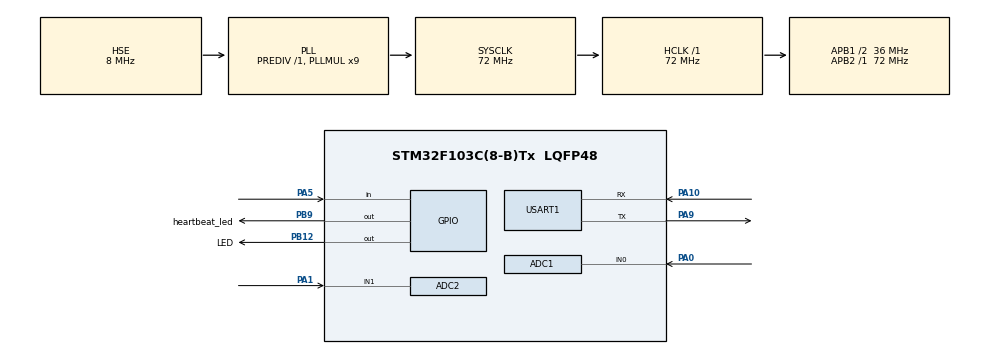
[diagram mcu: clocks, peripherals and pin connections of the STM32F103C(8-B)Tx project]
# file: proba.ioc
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ADC1.Channel-0\#ChannelRegularConversion=ADC_CHANNEL_0
ADC1.NbrOfConversionFlag=1
ADC1.Rank-0\#ChannelRegularConversion=1
ADC1.SamplingTime-0\#ChannelRegularConversion=ADC_SAMPLETIME_1CYCLE_5
ADC1.master=1
ADC2.Channel-2\#ChannelRegularConversion=ADC_CHANNEL_1
ADC2.NbrOfConversionFlag=1
ADC2.Rank-2\#ChannelRegularConversion=1
ADC2.SamplingTime-2\#ChannelRegularConversion=ADC_SAMPLETIME_1CYCLE_5
FREERTOS.Tasks01=defaultTask,24,128,StartDefaultTask,Default,NULL,Dynamic,NULL,NULL;mainTask,8,128,StartMainTask,Default,NULL,Dynamic,NULL,NULL;checkTask,8,128,StartCheckTask,Default,NULL,Dynamic,NULL,NULL;monitorTask,8,128,StartMonitorTask,Default,NULL,Dynamic,NULL,NULL
IWDG.Prescaler=IWDG_PRESCALER_16
IWDG.Reload=1250
Mcu.Family=STM32F1
Mcu.Name=STM32F103C(8-B)Tx
Mcu.Package=LQFP48
NVIC.ADC1_2_IRQn=true\:5\:0\:false\:false\:true\:true\:true\:true
NVIC.PriorityGroup=NVIC_PRIORITYGROUP_4
NVIC.TIM1_UP_IRQn=true\:15\:0\:false\:false\:true\:false\:false\:true
NVIC.TimeBase=TIM1_UP_IRQn
NVIC.TimeBaseIP=TIM1
NVIC.USART1_IRQn=true\:5\:0\:false\:false\:true\:true\:true\:true
PA0-WKUP.Signal=ADCx_IN0
PA1.Signal=ADCx_IN1
PA10.Mode=Asynchronous
PA10.Signal=USART1_RX
PA13.Mode=Serial_Wire
PA13.Signal=SYS_JTMS-SWDIO
PA14.Mode=Serial_Wire
PA14.Signal=SYS_JTCK-SWCLK
PA5.Signal=GPIO_Input
PA9.Mode=Asynchronous
PA9.Signal=USART1_TX
PB12.GPIO_Label=LED
PB12.Signal=GPIO_Output
PB9.GPIO_Label=heartbeat_led
PB9.Signal=GPIO_Output
PC14-OSC32_IN.Mode=LSE-External-Oscillator
PC14-OSC32_IN.Signal=RCC_OSC32_IN
PC15-OSC32_OUT.Mode=LSE-External-Oscillator
PC15-OSC32_OUT.Signal=RCC_OSC32_OUT
PD0-OSC_IN.Mode=HSE-External-Oscillator
PD0-OSC_IN.Signal=RCC_OSC_IN
PD1-OSC_OUT.Mode=HSE-External-Oscillator
PD1-OSC_OUT.Signal=RCC_OSC_OUT
ProjectManager.HeapSize=0x200
ProjectManager.StackSize=0x400
ProjectManager.TargetToolchain=MDK-ARM V5.32
RCC.ADCPresc=RCC_ADCPCLK2_DIV6
RCC.AHBFreq_Value=72000000
RCC.APB1CLKDivider=RCC_HCLK_DIV2
RCC.APB1Freq_Value=36000000
RCC.APB1TimFreq_Value=72000000
RCC.APB2Freq_Value=72000000
RCC.APB2TimFreq_Value=72000000
RCC.HCLKFreq_Value=72000000
RCC.PLLMUL=RCC_PLL_MUL9
RCC.PLLSourceVirtual=RCC_PLLSOURCE_HSE
RCC.SYSCLKFreq_VALUE=72000000
RCC.SYSCLKSource=RCC_SYSCLKSOURCE_PLLCLK
RCC.USBFreq_Value=72000000
SH.ADCx_IN0.0=ADC1_IN0,IN0
SH.ADCx_IN1.0=ADC2_IN1,IN1
USART1.VirtualMode=VM_ASYNC
VP_FREERTOS_VS_CMSIS_V2.Mode=CMSIS_V2
VP_IWDG_VS_IWDG.Mode=IWDG_Activate
VP_SYS_VS_tim1.Mode=TIM1
board=custom

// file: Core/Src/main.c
/* USER CODE BEGIN Header */
/**
  ******************************************************************************
  * @file           : main.c
  * @brief          : Main program body
  ******************************************************************************
  * Программное обеспечение для контроллера импульсного источника питания
  * Autor: Malyshev S.E.
  * Date:  2019
  ******************************************************************************
  */
/* USER CODE END Header */
#include "main.h"
#include "cmsis_os.h"

/* USER CODE BEGIN Includes */
#include <stdio.h>
#include <string.h>
#include <stdbool.h>
#include "task.h"
#include "hardware.h"
#include "mainTask.h"
#include "monitorTask.h"
#include "checkTask.h"
#include "ADC.h"
/* USER CODE END Includes */

ADC_HandleTypeDef hadc1;
ADC_HandleTypeDef hadc2;

IWDG_HandleTypeDef hiwdg;

UART_HandleTypeDef huart1;

/* Definitions for defaultTask */
osThreadId_t defaultTaskHandle;
const osThreadAttr_t defaultTask_attributes = {
  .name = "defaultTask",
  .stack_size = 128 * 4,
  .priority = (osPriority_t) osPriorityNormal,
};
/* Definitions for mainTask */
osThreadId_t mainTaskHandle;
const osThreadAttr_t mainTask_attributes = {
  .name = "mainTask",
  .stack_size = 128 * 4,
  .priority = (osPriority_t) osPriorityLow,
};
/* Definitions for checkTask */
osThreadId_t checkTaskHandle;
const osThreadAttr_t checkTask_attributes = {
  .name = "checkTask",
  .stack_size = 128 * 4,
  .priority = (osPriority_t) osPriorityLow,
};
/* Definitions for monitorTask */
osThreadId_t monitorTaskHandle;
const osThreadAttr_t monitorTask_attributes = {
  .name = "monitorTask",
  .stack_size = 128 * 4,
  .priority = (osPriority_t) osPriorityLow,
};

void SystemClock_Config(void);
static void MX_GPIO_Init(void);
static void MX_USART1_UART_Init(void);
static void MX_ADC1_Init(void);
static void MX_ADC2_Init(void);
static void MX_IWDG_Init(void);
void StartDefaultTask(void *argument);
void StartMainTask(void *argument);
void StartCheckTask(void *argument);
void StartMonitorTask(void *argument);

int main(void)
{

  /* MCU Configuration--------------------------------------------------------*/

  /* Reset of all peripherals, Initializes the Flash interface and the Systick. */
  HAL_Init();

  /* Configure the system clock */
  SystemClock_Config();

  /* Initialize all configured peripherals */
  MX_GPIO_Init();
  MX_USART1_UART_Init();
  MX_ADC1_Init();
  MX_ADC2_Init();
  MX_IWDG_Init();
  /* USER CODE BEGIN 2 */
  HAL_ADCEx_Calibration_Start(&hadc1);

  off_ps();

  clear_uart_buff();
  UART_receve_IT();
  sendUART_hello();
  HAL_NVIC_EnableIRQ(EXTI15_10_IRQn);

  if (adc2_convertion() >= 3030) /* При сбросе пропускаем калибровку, если была нагрузка*/
  {
    calibr_zero_AD712();
  }
  else
  {
    setZeroAD712(2450); // установим значение по умолчанию
  }

  /* USER CODE END 2 */

  /* Init scheduler */
  osKernelInitialize();

  /* Create the thread(s) */
  /* creation of defaultTask */
  defaultTaskHandle = osThreadNew(StartDefaultTask, NULL, &defaultTask_attributes);

  /* creation of mainTask */
  mainTaskHandle = osThreadNew(StartMainTask, NULL, &mainTask_attributes);

  /* creation of checkTask */
  checkTaskHandle = osThreadNew(StartCheckTask, NULL, &checkTask_attributes);

  /* creation of monitorTask */
  monitorTaskHandle = osThreadNew(StartMonitorTask, NULL, &monitorTask_attributes);

  /* Start scheduler */
  osKernelStart();

  /* We should never get here as control is now taken by the scheduler */
  /* Infinite loop */
  while (1)
  {

  }
}

void SystemClock_Config(void)
{
  RCC_OscInitTypeDef RCC_OscInitStruct = {0};
  RCC_ClkInitTypeDef RCC_ClkInitStruct = {0};
  RCC_PeriphCLKInitTypeDef PeriphClkInit = {0};

  /** Initializes the RCC Oscillators according to the specified parameters
  * in the RCC_OscInitTypeDef structure.
  */
  RCC_OscInitStruct.OscillatorType = RCC_OSCILLATORTYPE_LSI|RCC_OSCILLATORTYPE_HSE;
  RCC_OscInitStruct.HSEState = RCC_HSE_ON;
  RCC_OscInitStruct.HSEPredivValue = RCC_HSE_PREDIV_DIV1;
  RCC_OscInitStruct.HSIState = RCC_HSI_ON;
  RCC_OscInitStruct.LSIState = RCC_LSI_ON;
  RCC_OscInitStruct.PLL.PLLState = RCC_PLL_ON;
  RCC_OscInitStruct.PLL.PLLSource = RCC_PLLSOURCE_HSE;
  RCC_OscInitStruct.PLL.PLLMUL = RCC_PLL_MUL9;
  if (HAL_RCC_OscConfig(&RCC_OscInitStruct) != HAL_OK)
  {
    Error_Handler();
  }
  /** Initializes the CPU, AHB and APB buses clocks
  */
  RCC_ClkInitStruct.ClockType = RCC_CLOCKTYPE_HCLK|RCC_CLOCKTYPE_SYSCLK
                              |RCC_CLOCKTYPE_PCLK1|RCC_CLOCKTYPE_PCLK2;
  RCC_ClkInitStruct.SYSCLKSource = RCC_SYSCLKSOURCE_PLLCLK;
  RCC_ClkInitStruct.AHBCLKDivider = RCC_SYSCLK_DIV1;
  RCC_ClkInitStruct.APB1CLKDivider = RCC_HCLK_DIV2;
  RCC_ClkInitStruct.APB2CLKDivider = RCC_HCLK_DIV1;

  if (HAL_RCC_ClockConfig(&RCC_ClkInitStruct, FLASH_LATENCY_2) != HAL_OK)
  {
    Error_Handler();
  }
  PeriphClkInit.PeriphClockSelection = RCC_PERIPHCLK_ADC;
  PeriphClkInit.AdcClockSelection = RCC_ADCPCLK2_DIV6;
  if (HAL_RCCEx_PeriphCLKConfig(&PeriphClkInit) != HAL_OK)
  {
    Error_Handler();
  }
}

static void MX_ADC1_Init(void)
{

  ADC_ChannelConfTypeDef sConfig = {0};

  /** Common config
  */
  hadc1.Instance = ADC1;
  hadc1.Init.ScanConvMode = ADC_SCAN_DISABLE;
  hadc1.Init.ContinuousConvMode = DISABLE;
  hadc1.Init.DiscontinuousConvMode = DISABLE;
  hadc1.Init.ExternalTrigConv = ADC_SOFTWARE_START;
  hadc1.Init.DataAlign = ADC_DATAALIGN_RIGHT;
  hadc1.Init.NbrOfConversion = 1;
  if (HAL_ADC_Init(&hadc1) != HAL_OK)
  {
    Error_Handler();
  }
  /** Configure Regular Channel
  */
  sConfig.Channel = ADC_CHANNEL_0;
  sConfig.Rank = ADC_REGULAR_RANK_1;
  sConfig.SamplingTime = ADC_SAMPLETIME_1CYCLE_5;
  if (HAL_ADC_ConfigChannel(&hadc1, &sConfig) != HAL_OK)
  {
    Error_Handler();
  }

}

static void MX_ADC2_Init(void)
{

  ADC_ChannelConfTypeDef sConfig = {0};

  /** Common config
  */
  hadc2.Instance = ADC2;
  hadc2.Init.ScanConvMode = ADC_SCAN_DISABLE;
  hadc2.Init.ContinuousConvMode = DISABLE;
  hadc2.Init.DiscontinuousConvMode = DISABLE;
  hadc2.Init.ExternalTrigConv = ADC_SOFTWARE_START;
  hadc2.Init.DataAlign = ADC_DATAALIGN_RIGHT;
  hadc2.Init.NbrOfConversion = 1;
  if (HAL_ADC_Init(&hadc2) != HAL_OK)
  {
    Error_Handler();
  }
  /** Configure Regular Channel
  */
  sConfig.Channel = ADC_CHANNEL_1;
  sConfig.Rank = ADC_REGULAR_RANK_1;
  sConfig.SamplingTime = ADC_SAMPLETIME_1CYCLE_5;
  if (HAL_ADC_ConfigChannel(&hadc2, &sConfig) != HAL_OK)
  {
    Error_Handler();
  }

}

static void MX_IWDG_Init(void)
{

  hiwdg.Instance = IWDG;
  hiwdg.Init.Prescaler = IWDG_PRESCALER_16;
  hiwdg.Init.Reload = 1250;
  if (HAL_IWDG_Init(&hiwdg) != HAL_OK)
  {
    Error_Handler();
  }

}

static void MX_USART1_UART_Init(void)
{

  huart1.Instance = USART1;
  huart1.Init.BaudRate = 115200;
  huart1.Init.WordLength = UART_WORDLENGTH_8B;
  huart1.Init.StopBits = UART_STOPBITS_1;
  huart1.Init.Parity = UART_PARITY_NONE;
  huart1.Init.Mode = UART_MODE_TX_RX;
  huart1.Init.HwFlowCtl = UART_HWCONTROL_NONE;
  huart1.Init.OverSampling = UART_OVERSAMPLING_16;
  if (HAL_UART_Init(&huart1) != HAL_OK)
  {
    Error_Handler();
  }

}

static void MX_GPIO_Init(void)
{
  GPIO_InitTypeDef GPIO_InitStruct = {0};

  /* GPIO Ports Clock Enable */
  __HAL_RCC_GPIOC_CLK_ENABLE();
  __HAL_RCC_GPIOD_CLK_ENABLE();
  __HAL_RCC_GPIOA_CLK_ENABLE();
  __HAL_RCC_GPIOB_CLK_ENABLE();

  /*Configure GPIO pin Output Level */
  HAL_GPIO_WritePin(GPIOB, LED_Pin|heartbeat_led_Pin, GPIO_PIN_RESET);

  /*Configure GPIO pin : PA5 */
  GPIO_InitStruct.Pin = GPIO_PIN_5;
  GPIO_InitStruct.Mode = GPIO_MODE_INPUT;
  GPIO_InitStruct.Pull = GPIO_NOPULL;
  HAL_GPIO_Init(GPIOA, &GPIO_InitStruct);

  /*Configure GPIO pins : LED_Pin heartbeat_led_Pin */
  GPIO_InitStruct.Pin = LED_Pin|heartbeat_led_Pin;
  GPIO_InitStruct.Mode = GPIO_MODE_OUTPUT_PP;
  GPIO_InitStruct.Pull = GPIO_NOPULL;
  GPIO_InitStruct.Speed = GPIO_SPEED_FREQ_LOW;
  HAL_GPIO_Init(GPIOB, &GPIO_InitStruct);

}

/* USER CODE BEGIN 4 */
void HAL_GPIO_EXTI_Callback(uint16_t GPIO_Pin)
{
	if (HAL_GPIO_ReadPin(GPIOA, GPIO_PIN_5)==0)
  {
    ;
  }
}
/* USER CODE END 4 */

void StartDefaultTask(void *argument)
{
  /* USER CODE BEGIN 5 */
  /* Infinite loop */
  for(;;)
  {
    osDelay(1);
		reset_WDT();
  }
  /* USER CODE END 5 */
}

void StartMainTask(void *argument)
{
  /* USER CODE BEGIN StartMainTask */
  mainTask();
  /* USER CODE END StartMainTask */
}

void StartCheckTask(void *argument)
{
  /* USER CODE BEGIN StartCheckTask */
  checkTask();
  /* USER CODE END StartCheckTask */
}

void StartMonitorTask(void *argument)
{
  /* USER CODE BEGIN StartMonitorTask */
  monitorTask();
  /* USER CODE END StartMonitorTask */
}

void HAL_TIM_PeriodElapsedCallback(TIM_HandleTypeDef *htim)
{
  if (htim->Instance == TIM1) {
    HAL_IncTick();
  }
}

void Error_Handler(void)
{
  __disable_irq();
  while (1)
  {
  }
}

/************************ (C) COPYRIGHT STMicroelectronics *****END OF FILE****/
